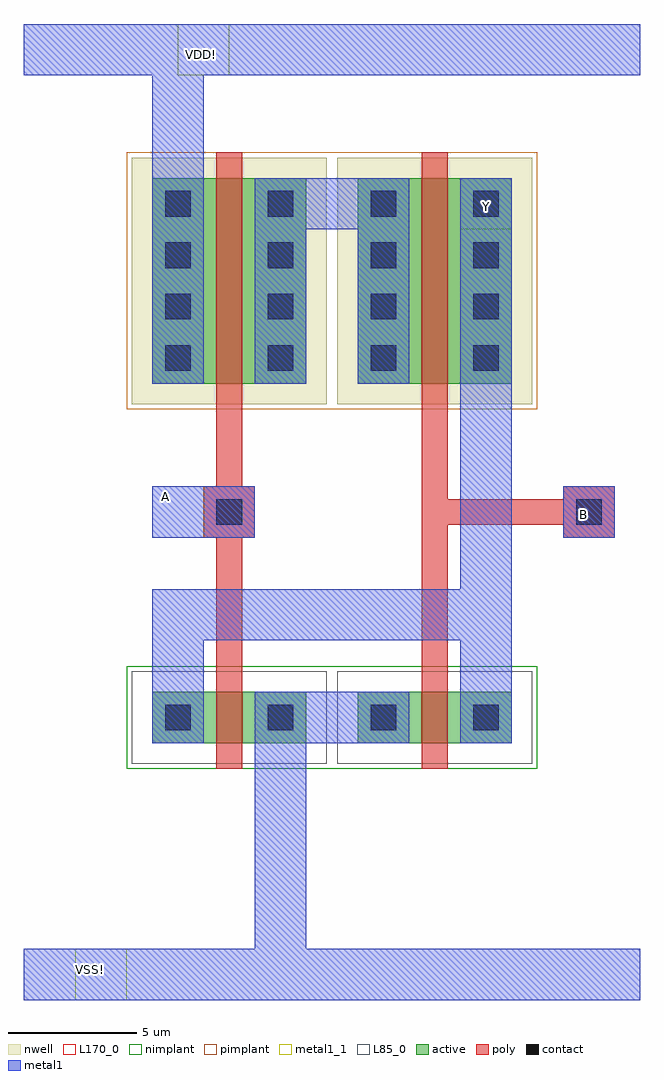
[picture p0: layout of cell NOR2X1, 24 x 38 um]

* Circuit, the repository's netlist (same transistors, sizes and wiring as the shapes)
* +++++++++++++++++++++++++++++++++++++++++++++++++++++++++ *
* CDL Netlist:                                              *
*                                                           *
* Cell Name  : NOR2X1                                       *
* Netlisted  : Fri Dec 17 11:04:39 2021                     *
* PVS Version: 16.15-s010 Fri Jun 28 22:24:07 PDT 2019      *
* +++++++++++++++++++++++++++++++++++++++++++++++++++++++++ *
*.LDD
*.DEVTMPLT 0 MN(nmos3) _nmos1v _soi_nd(D) poly_conn(G) _soi_nsb(S) _soi_nsb(B)
*.DEVTMPLT 1 MP(pmos3) _pmos1v _soi_pd(D) poly_conn(G) _soi_psb(S) _soi_psb(B)

* +++++++++++++++++++++++++++++++++++++++++++++++++++++++++ *
* Sub cell: nmos3_CDNS_2                                    *
* +++++++++++++++++++++++++++++++++++++++++++++++++++++++++ *
.subckt nmos3_CDNS_2 2 3 4
** N=4 EP=3 FDC=1
M0 3 4 2 2 nmos3 L=1e-06 W=2e-06 AD=5e-12 AS=0 PD=9e-06 PS=0 fw=2e-06 sa=2e-06 sb=2e-06 $X=7000 $Y=2000 $dt=0
.ends nmos3_CDNS_2

* +++++++++++++++++++++++++++++++++++++++++++++++++++++++++ *
* Sub cell: pmos3_CDNS_3                                    *
* +++++++++++++++++++++++++++++++++++++++++++++++++++++++++ *
.subckt pmos3_CDNS_3 2 3 4
** N=5 EP=3 FDC=1
M0 3 4 2 2 pmos3 L=1e-06 W=8e-06 AD=2e-11 AS=0 PD=2.1e-05 PS=0 fw=8e-06 sa=2e-06 sb=2e-06 $X=7000 $Y=2000 $dt=1
.ends pmos3_CDNS_3

* +++++++++++++++++++++++++++++++++++++++++++++++++++++++++ *
* Sub cell: NOR2X1                                          *
* +++++++++++++++++++++++++++++++++++++++++++++++++++++++++ *
.subckt NOR2X1 A B VDD! VSS! Y
** N=9 EP=5 FDC=4
X2 VSS! Y A nmos3_CDNS_2 $T=8000 16000 0 0 $X=8000 $Y=16000
X3 VSS! Y B nmos3_CDNS_2 $T=40000 16000 1 180 $X=24000 $Y=16000
X4 VDD! 7 A pmos3_CDNS_3 $T=24000 64000 0 180 $X=8000 $Y=42000
X5 7 Y B pmos3_CDNS_3 $T=40000 64000 0 180 $X=24000 $Y=42000
.ends NOR2X1

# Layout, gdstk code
from math import pi, radians
import gdstk
lib = gdstk.Library(unit=1e-6, precision=5e-10)
def R(c, l, rs):  # rectangles x0, y0, x1, y1
    for r in rs: c.add(gdstk.rectangle(r[:2], r[2:], *l))
def A(c, l, x, y, w, h, nx, ny, dx, dy):  # array of equal rectangles
    R(c, l, [(x+i*dx, y+j*dy, x+i*dx+w, y+j*dy+h) for i in range(nx) for j in range(ny)])
active = (1, 0)
nwell = (2, 0)
poly = (3, 0)
nimplant = (4, 0)
pimplant = (5, 0)
contact = (6, 0)
metal1 = (7, 0)
metal1_1 = (7, 1)
L85_0 = (85, 0)
L170_0 = (170, 0)

nmos3_cdns_2 = lib.new_cell('nmos3_CDNS_2')
R(nmos3_cdns_2, active, [(1,1,7,3)])
R(nmos3_cdns_2, poly, [(3.5,0,4.5,5), (3.6,3.5,4.4,3.9)])
R(nmos3_cdns_2, nimplant, [(0,0,8,4)])
R(nmos3_cdns_2, contact, [(1.5,1.5,2.5,2.5), (5.5,1.5,6.5,2.5), (5.5,1.5,6.5,2.5)])
R(nmos3_cdns_2, metal1, [(1,1,3,3), (5,1,7,3), (1.3,1.3,2.7,2.7), (5.3,1.3,6.7,2.7)])
R(nmos3_cdns_2, L85_0, [(0.2,0.2,7.8,3.8)])
R(nmos3_cdns_2, L170_0, [(4.5,1,7,3)])

pmos3_cdns_3 = lib.new_cell('pmos3_CDNS_3')
R(pmos3_cdns_3, active, [(1,1,7,9)])
R(pmos3_cdns_3, nwell, [(0.2,0.2,7.8,9.8)])
R(pmos3_cdns_3, poly, [(3.5,0,4.5,11), (3.6,9.6,4.4,9.9)])
R(pmos3_cdns_3, pimplant, [(0,0,8,10)])
A(pmos3_cdns_3, contact, 1.5, 1.5, 1, 1, 1, 4, 0, 2)
A(pmos3_cdns_3, contact, 5.5, 1.5, 1, 1, 1, 4, 0, 2)
R(pmos3_cdns_3, contact, [(5.5,1.5,6.5,2.5)])
R(pmos3_cdns_3, metal1, [(1,1,3,9), (5,1,7,9), (1.3,1.3,2.7,2.7), (5.3,1.3,6.7,2.7)])
R(pmos3_cdns_3, L170_0, [(4.5,1,7,9)])

m1_po_cdns_1 = lib.new_cell('M1_PO_CDNS_1')
R(m1_po_cdns_1, poly, [(-1,-1,1,1)])
R(m1_po_cdns_1, contact, [(-0.5,-0.5,0.5,0.5)])
R(m1_po_cdns_1, metal1, [(-1,-1,1,1)])

nor2x1 = lib.new_cell('NOR2X1')
R(nor2x1, metal1, [(5,17,9,19), (21,17,23,19)])
R(nor2x1, metal1_1, [(2,-1,4,1), (5,17,7,19), (21,17,23,19), (17,29,19,31), (6,35,8,37)])
nor2x1.add(gdstk.FlexPath([(0,36),(6,36)], 2, ends=(0, 1), simple_path=True, layer=7, datatype=0))  # metal1
nor2x1.add(gdstk.FlexPath([(6,29.3),(6,36)], 2, ends=(0, 1), simple_path=True, layer=7, datatype=0))  # metal1
nor2x1.add(gdstk.FlexPath([(14.7,30),(9.3,30)], 2, ends="flush", simple_path=True, layer=7, datatype=0))  # metal1
nor2x1.add(gdstk.FlexPath([(18,30.7),(18,14)], 2, ends=(0, 1), simple_path=True, layer=7, datatype=0))  # metal1
nor2x1.add(gdstk.FlexPath([(18,14),(18,9.3)], 2, ends=(1, 0), simple_path=True, layer=7, datatype=0))  # metal1
nor2x1.add(gdstk.FlexPath([(6,14),(18,14)], 2, ends="extended", simple_path=True, layer=7, datatype=0))  # metal1
nor2x1.add(gdstk.FlexPath([(6,9.3),(6,14)], 2, ends=(0, 1), simple_path=True, layer=7, datatype=0))  # metal1
nor2x1.add(gdstk.FlexPath([(0,0),(10,0)], 2, ends=(0, 1), simple_path=True, layer=7, datatype=0))  # metal1
nor2x1.add(gdstk.FlexPath([(10,11),(10,0)], 2, ends=(0, 1), simple_path=True, layer=7, datatype=0))  # metal1
nor2x1.add(gdstk.FlexPath([(9.3,10),(14.7,10)], 2, ends="flush", simple_path=True, layer=7, datatype=0))  # metal1
nor2x1.add(gdstk.FlexPath([(6,36),(24,36)], 2, ends=(1, 0), simple_path=True, layer=7, datatype=0))  # metal1
nor2x1.add(gdstk.FlexPath([(10,0),(24,0)], 2, ends=(1, 0), simple_path=True, layer=7, datatype=0))  # metal1
nor2x1.add(gdstk.FlexPath([(16,18),(22,18)], 1, ends=(0.5, 0), simple_path=True, layer=3, datatype=0))  # poly
nor2x1.add(gdstk.FlexPath([(16,18),(16,26.6)], 1, ends=(0.5, 0), simple_path=True, layer=3, datatype=0))  # poly
nor2x1.add(gdstk.FlexPath([(8,11.5),(8,26.6)], 1, ends="flush", simple_path=True, layer=3, datatype=0))  # poly
nor2x1.add(gdstk.FlexPath([(16,11.5),(16,18)], 1, ends=(0, 0.5), simple_path=True, layer=3, datatype=0))  # poly
nor2x1.add(gdstk.Reference(nmos3_cdns_2, (4,8)))
nor2x1.add(gdstk.Reference(nmos3_cdns_2, (20,8), rotation=pi, x_reflection=True))
nor2x1.add(gdstk.Reference(pmos3_cdns_3, (12,32), rotation=pi))
nor2x1.add(gdstk.Reference(pmos3_cdns_3, (20,32), rotation=pi))
nor2x1.add(gdstk.Reference(m1_po_cdns_1, (22,18)))
nor2x1.add(gdstk.Reference(m1_po_cdns_1, (8,18)))
nor2x1.add(gdstk.Label('B', (21.8,17.9), layer=7, texttype=3))
nor2x1.add(gdstk.Label('VSS!', (2.6,0.2), layer=7, texttype=3))
nor2x1.add(gdstk.Label('Y', (18,29.9), layer=7, texttype=3))
nor2x1.add(gdstk.Label('VDD!', (6.9,35.8), layer=7, texttype=3))
nor2x1.add(gdstk.Label('A', (5.5,18.6), layer=7, texttype=3))

lib.write_gds('NOR2X1.gds')
